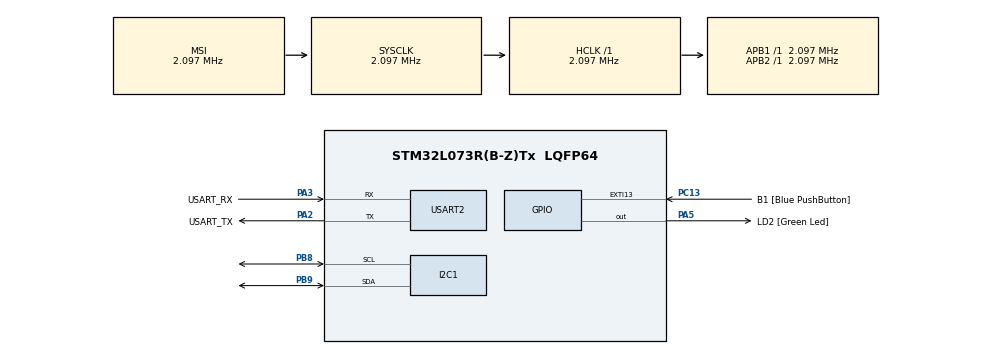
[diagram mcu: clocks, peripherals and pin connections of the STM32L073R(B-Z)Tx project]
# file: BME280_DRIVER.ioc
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Mcu.Family=STM32L0
Mcu.Name=STM32L073R(B-Z)Tx
Mcu.Package=LQFP64
PA13.GPIO_Label=TMS
PA13.Mode=Serial_Wire
PA13.Signal=SYS_SWDIO
PA14.GPIO_Label=TCK
PA14.Mode=Serial_Wire
PA14.Signal=SYS_SWCLK
PA2.GPIO_Label=USART_TX
PA2.Mode=Asynchronous
PA2.Signal=USART2_TX
PA3.GPIO_Label=USART_RX
PA3.Mode=Asynchronous
PA3.Signal=USART2_RX
PA5.GPIO_Label=LD2 [Green Led]
PA5.Signal=GPIO_Output
PB8.Mode=I2C
PB8.Signal=I2C1_SCL
PB9.Mode=I2C
PB9.Signal=I2C1_SDA
PC13.GPIO_Label=B1 [Blue PushButton]
PC13.GPIO_ModeDefaultEXTI=GPIO_MODE_IT_FALLING
PC13.Signal=GPXTI13
PC14-OSC32_IN.Mode=LSE-External-Oscillator
PC14-OSC32_IN.Signal=RCC_OSC32_IN
PC15-OSC32_OUT.Mode=LSE-External-Oscillator
PC15-OSC32_OUT.Signal=RCC_OSC32_OUT
PH0-OSC_IN.GPIO_Label=MCO
PH0-OSC_IN.Mode=HSE-External-Clock-Source
PH0-OSC_IN.Signal=RCC_OSC_IN
ProjectManager.HeapSize=0x200
ProjectManager.StackSize=0x400
ProjectManager.TargetToolchain=STM32CubeIDE
RCC.AHBFreq_Value=2097000
RCC.APB1Freq_Value=2097000
RCC.APB1TimFreq_Value=2097000
RCC.APB2Freq_Value=2097000
RCC.APB2TimFreq_Value=2097000
RCC.HSE_VALUE=8000000
RCC.HSI16_VALUE=16000000
RCC.HSI48_VALUE=48000000
RCC.HSI_VALUE=16000000
RCC.MSI_VALUE=2097000
RCC.SYSCLKFreq_VALUE=2097000
RCC.VCOOutputFreq_Value=48000000
USART2.VirtualMode-Asynchronous=VM_ASYNC
board=NUCLEO-L073RZ

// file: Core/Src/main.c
/* USER CODE BEGIN Header */
/**
  ******************************************************************************
  * @file           : main.c
  * @brief          : Main program body
  ******************************************************************************
  * @attention
  *
  * <h2><center>&copy; Copyright (c) 2020 STMicroelectronics.
  * All rights reserved.</center></h2>
  *
  * This software component is licensed by ST under BSD 3-Clause license,
  * the "License"; You may not use this file except in compliance with the
  * License. You may obtain a copy of the License at:
  *                        opensource.org/licenses/BSD-3-Clause
  *
  ******************************************************************************
  */
/* USER CODE END Header */

#include "main.h"

/* USER CODE BEGIN Includes */
#include "stdio.h"
#include "string.h"
#include "bme280.h"
#include "Retarget.h"
#include "stdlib.h"
/* USER CODE END Includes */

I2C_HandleTypeDef hi2c1;
UART_HandleTypeDef huart2;

/* USER CODE BEGIN PV */

uint8_t Buf[12];        //buffer for general use
HAL_StatusTypeDef ret;

/* USER CODE END PV */

void SystemClock_Config(void);
static void MX_GPIO_Init(void);
static void MX_USART2_UART_Init(void);
static void MX_I2C1_Init(void);
/* USER CODE BEGIN PFP */
int8_t i2c_reg_write(uint8_t i2c_addr, uint8_t reg_addr, uint8_t *reg_data, uint16_t length);
int8_t i2c_reg_read(uint8_t i2c_addr, uint8_t reg_addr, uint8_t *reg_data, uint16_t length);
void print_rslt(const char api_name[], int8_t rslt);
/* USER CODE END PFP */

int main(void)
{
  /* USER CODE BEGIN 1 */
	int8_t rslt;
	struct bme280_dev bme;
	struct bme280_data Sens_Rd;
	//struct bme280_settings Sens_Set;

  /* USER CODE END 1 */

  /* MCU Configuration--------------------------------------------------------*/

  /* Reset of all peripherals, Initializes the Flash interface and the Systick. */
  HAL_Init();

  /* USER CODE BEGIN Init */
  //Assignment of pointer to relative function
  bme.delay_ms = HAL_Delay;             //delay function
  bme.dev_id = BME280_I2C_ADDR_PRIM;    //bme280 default primary address (or secondary address)
  bme.intf   =   BME280_I2C_INTF;       //i2c communication (or spi communication)
  bme.write = i2c_reg_write;            //i2c register write function
  bme.read =  i2c_reg_read;             //i2c register read function

  /* USER CODE END Init */

  /* Configure the system clock */
  SystemClock_Config();

  /* Initialize all configured peripherals */
  MX_GPIO_Init();
  MX_USART2_UART_Init();
  MX_I2C1_Init();
  /* USER CODE BEGIN 2 */
  RetargetInit(&huart2);
  /* USER CODE END 2 */

  /* Infinite loop */
  /* USER CODE BEGIN WHILE */

  rslt = bme280_init(&bme); //Init the sensor and check the status

  if(rslt == BME280_E_DEV_NOT_FOUND)//either sensor is present or not
  	  {printf("Sensor Not Found\r\n"); while(1);}
  else printf("Sensor Found\r\n");

  //update settings based on the requirement
  bme.settings.osr_h = BME280_OVERSAMPLING_4X;
  bme.settings.osr_p = BME280_OVERSAMPLING_4X;
  bme.settings.osr_t = BME280_OVERSAMPLING_4X;
  bme.settings.filter = BME280_FILTER_COEFF_16;

  rslt = bme280_set_sensor_settings(BME280_OSR_PRESS_SEL | BME280_OSR_TEMP_SEL | BME280_OSR_HUM_SEL | BME280_FILTER_SEL, &bme);

  if(rslt != BME280_OK)
	  printf("Something went wrong\r\n");

  //set sensor mode to normal mode
  rslt = bme280_set_sensor_mode( BME280_NORMAL_MODE, &bme);
  if(rslt != BME280_OK)
	  printf("Something went wrong\r\n");

  bme.delay_ms(100); //some delay for sensor to updates its settings

  while (1)
  {

      //Poll the data from sensor
	  bme280_get_sensor_data(BME280_ALL, &Sens_Rd, &bme);
      printf("Temperature: %f Pressure: %f Humidity: %f\n\r",Sens_Rd.temperature,Sens_Rd.pressure,Sens_Rd.humidity);

      bme.delay_ms(1000);

    /* USER CODE END WHILE */

  }
}

void SystemClock_Config(void)
{
  RCC_OscInitTypeDef RCC_OscInitStruct = {0};
  RCC_ClkInitTypeDef RCC_ClkInitStruct = {0};
  RCC_PeriphCLKInitTypeDef PeriphClkInit = {0};

  /** Configure the main internal regulator output voltage
  */
  __HAL_PWR_VOLTAGESCALING_CONFIG(PWR_REGULATOR_VOLTAGE_SCALE1);
  /** Initializes the CPU, AHB and APB busses clocks
  */
  RCC_OscInitStruct.OscillatorType = RCC_OSCILLATORTYPE_MSI;
  RCC_OscInitStruct.MSIState = RCC_MSI_ON;
  RCC_OscInitStruct.MSICalibrationValue = 0;
  RCC_OscInitStruct.MSIClockRange = RCC_MSIRANGE_5;
  RCC_OscInitStruct.PLL.PLLState = RCC_PLL_NONE;
  if (HAL_RCC_OscConfig(&RCC_OscInitStruct) != HAL_OK)
  {
    Error_Handler();
  }
  /** Initializes the CPU, AHB and APB busses clocks
  */
  RCC_ClkInitStruct.ClockType = RCC_CLOCKTYPE_HCLK|RCC_CLOCKTYPE_SYSCLK
                              |RCC_CLOCKTYPE_PCLK1|RCC_CLOCKTYPE_PCLK2;
  RCC_ClkInitStruct.SYSCLKSource = RCC_SYSCLKSOURCE_MSI;
  RCC_ClkInitStruct.AHBCLKDivider = RCC_SYSCLK_DIV1;
  RCC_ClkInitStruct.APB1CLKDivider = RCC_HCLK_DIV1;
  RCC_ClkInitStruct.APB2CLKDivider = RCC_HCLK_DIV1;

  if (HAL_RCC_ClockConfig(&RCC_ClkInitStruct, FLASH_LATENCY_0) != HAL_OK)
  {
    Error_Handler();
  }
  PeriphClkInit.PeriphClockSelection = RCC_PERIPHCLK_USART2|RCC_PERIPHCLK_I2C1;
  PeriphClkInit.Usart2ClockSelection = RCC_USART2CLKSOURCE_PCLK1;
  PeriphClkInit.I2c1ClockSelection = RCC_I2C1CLKSOURCE_PCLK1;
  if (HAL_RCCEx_PeriphCLKConfig(&PeriphClkInit) != HAL_OK)
  {
    Error_Handler();
  }
}

static void MX_I2C1_Init(void)
{

  hi2c1.Instance = I2C1;
  hi2c1.Init.Timing = 0x00000708;
  hi2c1.Init.OwnAddress1 = 0;
  hi2c1.Init.AddressingMode = I2C_ADDRESSINGMODE_7BIT;
  hi2c1.Init.DualAddressMode = I2C_DUALADDRESS_DISABLE;
  hi2c1.Init.OwnAddress2 = 0;
  hi2c1.Init.OwnAddress2Masks = I2C_OA2_NOMASK;
  hi2c1.Init.GeneralCallMode = I2C_GENERALCALL_DISABLE;
  hi2c1.Init.NoStretchMode = I2C_NOSTRETCH_DISABLE;
  if (HAL_I2C_Init(&hi2c1) != HAL_OK)
  {
    Error_Handler();
  }
  /** Configure Analogue filter
  */
  if (HAL_I2CEx_ConfigAnalogFilter(&hi2c1, I2C_ANALOGFILTER_ENABLE) != HAL_OK)
  {
    Error_Handler();
  }
  /** Configure Digital filter
  */
  if (HAL_I2CEx_ConfigDigitalFilter(&hi2c1, 0) != HAL_OK)
  {
    Error_Handler();
  }

}

static void MX_USART2_UART_Init(void)
{

  huart2.Instance = USART2;
  huart2.Init.BaudRate = 115200;
  huart2.Init.WordLength = UART_WORDLENGTH_8B;
  huart2.Init.StopBits = UART_STOPBITS_1;
  huart2.Init.Parity = UART_PARITY_NONE;
  huart2.Init.Mode = UART_MODE_TX_RX;
  huart2.Init.HwFlowCtl = UART_HWCONTROL_NONE;
  huart2.Init.OverSampling = UART_OVERSAMPLING_16;
  huart2.Init.OneBitSampling = UART_ONE_BIT_SAMPLE_DISABLE;
  huart2.AdvancedInit.AdvFeatureInit = UART_ADVFEATURE_NO_INIT;
  if (HAL_UART_Init(&huart2) != HAL_OK)
  {
    Error_Handler();
  }

}

static void MX_GPIO_Init(void)
{
  GPIO_InitTypeDef GPIO_InitStruct = {0};

  /* GPIO Ports Clock Enable */
  __HAL_RCC_GPIOC_CLK_ENABLE();
  __HAL_RCC_GPIOH_CLK_ENABLE();
  __HAL_RCC_GPIOA_CLK_ENABLE();
  __HAL_RCC_GPIOB_CLK_ENABLE();

  /*Configure GPIO pin Output Level */
  HAL_GPIO_WritePin(LD2_GPIO_Port, LD2_Pin, GPIO_PIN_RESET);

  /*Configure GPIO pin : B1_Pin */
  GPIO_InitStruct.Pin = B1_Pin;
  GPIO_InitStruct.Mode = GPIO_MODE_IT_FALLING;
  GPIO_InitStruct.Pull = GPIO_NOPULL;
  HAL_GPIO_Init(B1_GPIO_Port, &GPIO_InitStruct);

  /*Configure GPIO pin : LD2_Pin */
  GPIO_InitStruct.Pin = LD2_Pin;
  GPIO_InitStruct.Mode = GPIO_MODE_OUTPUT_PP;
  GPIO_InitStruct.Pull = GPIO_NOPULL;
  GPIO_InitStruct.Speed = GPIO_SPEED_FREQ_LOW;
  HAL_GPIO_Init(LD2_GPIO_Port, &GPIO_InitStruct);

}

/* USER CODE BEGIN 4 */
/**
  * @brief I2c master write function
  * @param i2c_addr slave address
  * @param reg_addr slave register address which needs to be write
  * @param *reg_data data buffer which contains data to be written
  * @param length   No. of bytes needs to be written
  * @retval 0 success , -1 error
  */
int8_t i2c_reg_write(uint8_t i2c_addr, uint8_t reg_addr, uint8_t *reg_data, uint16_t length)
{
  int8_t *buf;
  buf = malloc(length +1);
  buf[0] = reg_addr;
  memcpy(buf +1, reg_data, length);

  if(HAL_I2C_Master_Transmit(&hi2c1, (i2c_addr << 1), (uint8_t*)buf, length + 1, HAL_MAX_DELAY) != HAL_OK) return -1;

  free(buf);
  return 0;
}

/**
  * @brief I2c master read function
  * @param i2c_addr slave address
  * @param reg_addr slave register address which needs to be read
  * @param *reg_data read data will be stored in this variable
  * @param length   No. of bytes needs to be read
  * @retval 0 success , -1 error
  */

int8_t i2c_reg_read(uint8_t i2c_addr, uint8_t reg_addr, uint8_t *reg_data, uint16_t length)
{

if(HAL_I2C_Master_Transmit(&hi2c1, (i2c_addr << 1), &reg_addr, 1, 10) != HAL_OK) return -1;
  if(HAL_I2C_Master_Receive(&hi2c1, (i2c_addr << 1) | 0x01, reg_data, length, 10) != HAL_OK) return -1;

  return 0;
}

void Error_Handler(void)
{
}

/************************ (C) COPYRIGHT STMicroelectronics *****END OF FILE****/
